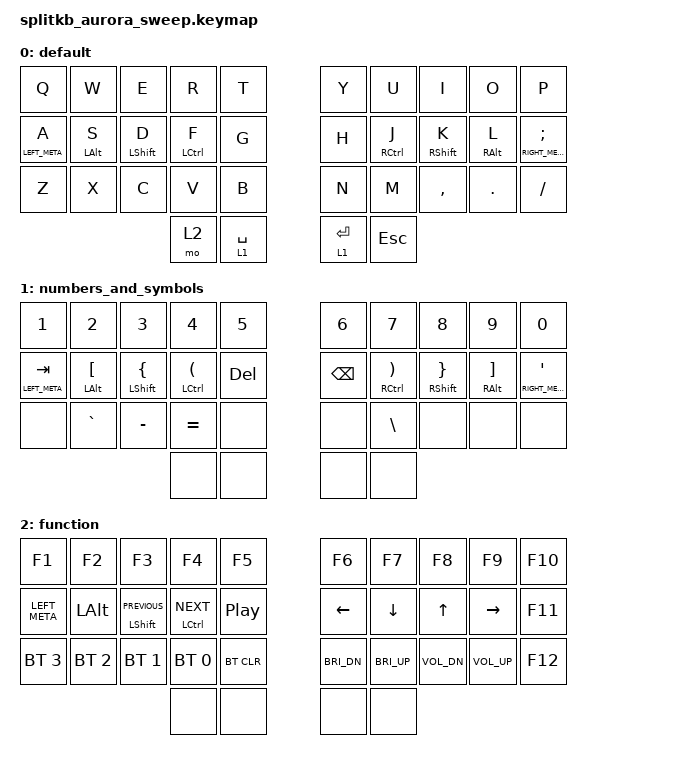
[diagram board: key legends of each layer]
/*
 * Copyright (c) 2022 The ZMK Contributors
 *
 * SPDX-License-Identifier: MIT
 */

#include <behaviors.dtsi>
#include <dt-bindings/zmk/bt.h>
#include <dt-bindings/zmk/keys.h>

&mt {
    flavor = "balanced";
    tapping_term_ms = <200>;
    quick-tap-ms = <200>;
};

&sl { release-after-ms = <200>; };

&lt { quick-tap-ms = <200>; };

/ {
    combos { compatible = "zmk,combos"; };

    keymap {
        compatible = "zmk,keymap";

        default {
            bindings = <
&kp Q            &kp W           &kp E             &kp R               &kp T          &kp Y        &kp U                &kp I              &kp O            &kp P
&mt LEFT_META A  &mt LEFT_ALT S  &mt LEFT_SHIFT D  &mt LEFT_CONTROL F  &kp G          &kp H        &mt RIGHT_CONTROL J  &mt RIGHT_SHIFT K  &mt RIGHT_ALT L  &mt RIGHT_META SEMI
&kp Z            &kp X           &kp C             &kp V               &kp B          &kp N        &kp M                &kp COMMA          &kp DOT          &kp SLASH
                                                   &mo 2               &lt 1 SPACE    &lt 1 ENTER  &kp ESCAPE
            >;
        };

        numbers_and_symbols {
            bindings = <
&kp NUMBER_1       &kp NUMBER_2               &kp NUMBER_3               &kp NUMBER_4                       &kp NUMBER_5    &kp NUMBER_6   &kp NUMBER_7                         &kp NUMBER_8                 &kp NUMBER_9                 &kp NUMBER_0
&mt LEFT_META TAB  &mt LEFT_ALT LEFT_BRACKET  &mt LEFT_SHIFT LEFT_BRACE  &mt LEFT_CONTROL LEFT_PARENTHESIS  &kp DELETE      &kp BACKSPACE  &mt RIGHT_CONTROL RIGHT_PARENTHESIS  &mt RIGHT_SHIFT RIGHT_BRACE  &mt RIGHT_ALT RIGHT_BRACKET  &mt RIGHT_META SINGLE_QUOTE
&none              &kp GRAVE                  &kp MINUS                  &kp EQUAL                          &none           &none          &kp BACKSLASH                        &none                        &none                        &none
                                                                         &none                              &none           &none          &none
            >;
        };

        function {
            bindings = <
&kp F1         &kp F2        &kp F3                     &kp F4                   &kp F5              &kp F6        &kp F7          &kp F8        &kp F9        &kp F10
&kp LEFT_META  &kp LEFT_ALT  &mt LEFT_SHIFT C_PREVIOUS  &mt LEFT_CONTROL C_NEXT  &kp C_PLAY_PAUSE    &kp LEFT      &kp DOWN_ARROW  &kp UP_ARROW  &kp RIGHT     &kp F11
&bt BT_SEL 3   &bt BT_SEL 2  &bt BT_SEL 1               &bt BT_SEL 0             &bt BT_CLR          &kp C_BRI_DN  &kp C_BRI_UP    &kp C_VOL_DN  &kp C_VOL_UP  &kp F12
                                                        &none                    &none               &none         &none
            >;
        };
    };
};
